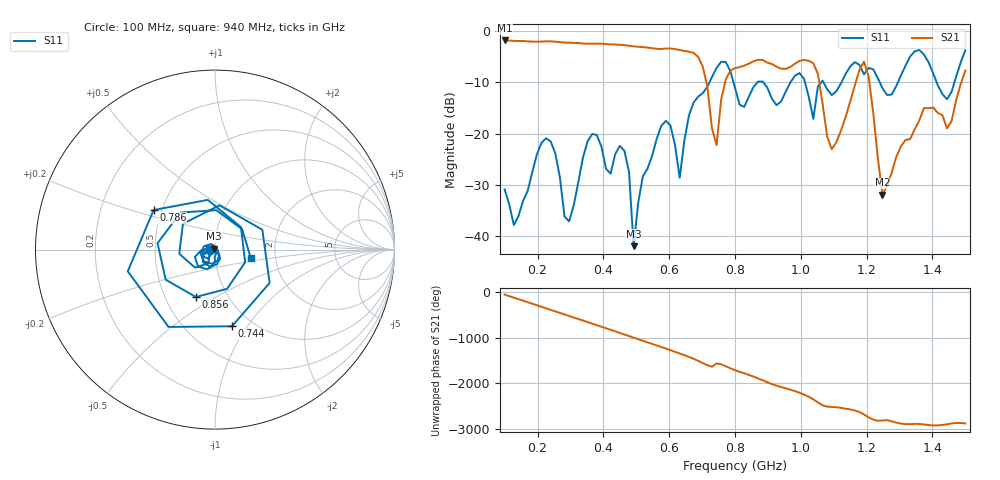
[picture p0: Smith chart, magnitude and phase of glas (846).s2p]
! NanoVNA-App
! Date: 2025-09-25 16:02:03
! Start: 100MHz Stop: 1,5GHz Points: 101
! S-Parameter data: F S11 S21 S12 S22
# Hz S RI R 50
!  Frequency  S11_Real  S11_Imag  S21_Real  S21_Imag  S12_Real  S12_Imag  S22_Real  S22_Imag
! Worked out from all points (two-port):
!   101 points, 100 MHz to 1.5 GHz, reference 50 ohm
!   highest |S21| = -1.80 dB at 100 MHz (marker M1); lowest = -31.9 dB at 1.248 GHz (marker M2)
!   |S21| within 3 dB of the highest: start of sweep to 684.4 MHz
!   lowest |S11| = -42.0 dB at 492 MHz (marker M3), VSWR 1.02, Z = 49.5 + j0.603 ohm
!   |S11| at or under -10 dB: start of sweep to 722.4 MHz; 795.4 MHz to 867.9 MHz (72.52 MHz wide, 8.72 % of centre); 885.9 MHz to 968.4 MHz (82.45 MHz wide, 8.89 % of centre) (the widest 3 of 7)
!   S12 and S22 are empty: the file has one direction only
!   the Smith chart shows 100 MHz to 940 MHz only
!   S11 on the Smith chart (normalised r, x): 100 MHz: 0.94, -0.01; 744 MHz: 0.81, -0.85; 786 MHz: 0.45, +0.24; 856 MHz: 0.71, -0.41; 940 MHz: 1.49, -0.15
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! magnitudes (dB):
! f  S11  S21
! 100 MHz  -30.9  -1.8
! 128 MHz  -37.9  -1.9
! 226 MHz  -20.9  -2.0
! 296 MHz  -37.2  -2.2
! 338 MHz  -24.7  -2.4
! 464 MHz  -23.4  -2.7
! 492 MHz  -42.0  -3.0
! 576 MHz  -18.5  -3.5
! 632 MHz  -28.7  -3.7
! 702 MHz  -12.1  -6.9
! 744 MHz  -7.2  -22.3
! 786 MHz  -7.8  -7.7
! 800 MHz  -11.1  -7.2
! 856 MHz  -10.9  -5.9
! 940 MHz  -13.8  -7.3
! 996 MHz  -8.2  -5.8
! 1.038 GHz  -17.1  -6.3
! 1.094 GHz  -12.5  -23.1
! 1.192 GHz  -8.4  -6.0
! 1.248 GHz  -11.1  -31.9
! 1.276 GHz  -12.4  -27.7
! 1.5 GHz  -3.7  -7.7
